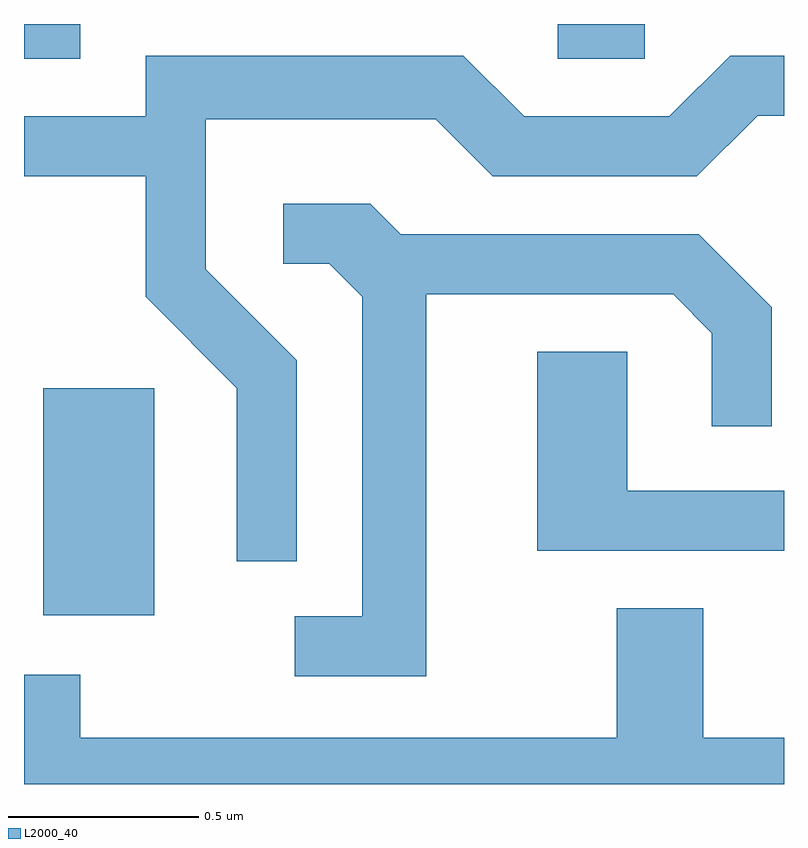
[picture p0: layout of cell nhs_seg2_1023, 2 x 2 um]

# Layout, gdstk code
import gdstk
lib = gdstk.Library(unit=1e-6, precision=1e-09)
def R(c, l, rs):  # rectangles x0, y0, x1, y1
    for r in rs: c.add(gdstk.rectangle(r[:2], r[2:], *l))
def P(c, l, *ps):  # polygons
    for p in ps: c.add(gdstk.Polygon(p, *l))
L2000_40 = (2000, 40)

nhs_seg2_1023 = lib.new_cell('nhs_seg2_1023')
R(nhs_seg2_1023, L2000_40, [(192.661,1042.246,192.954,1042.844), (192.611,1043.711,192.759,1043.802), (194.016,1043.711,194.244,1043.802)])
P(nhs_seg2_1023, L2000_40, [(193.329,1042.917),(193.089,1043.157),(193.089,1043.551),(193.694,1043.551),(193.844,1043.401),(194.382,1043.401),(194.542,1043.561),(194.611,1043.561),(194.611,1043.719),(194.469,1043.719),(194.309,1043.559),(193.927,1043.559),(193.767,1043.719),(192.931,1043.719),(192.931,1043.559),(192.611,1043.559),(192.611,1043.401),(192.931,1043.401),(192.931,1043.084),(193.171,1042.844),(193.171,1042.388),(193.329,1042.388)],
  [(193.669,1043.091),(194.319,1043.091),(194.421,1042.988),(194.421,1042.743),(194.579,1042.743),(194.579,1043.056),(194.387,1043.249),(193.602,1043.249),(193.522,1043.329),(193.293,1043.329),(193.293,1043.171),(193.414,1043.171),(193.501,1043.084),(193.501,1042.244),(193.323,1042.244),(193.323,1042.086),(193.669,1042.086)],
  [(194.611,1042.574),(194.199,1042.574),(194.199,1042.939),(193.961,1042.939),(193.961,1042.416),(194.611,1042.416)],
  [(194.611,1041.924),(194.399,1041.924),(194.399,1042.264),(194.171,1042.264),(194.171,1041.924),(192.759,1041.924),(192.759,1042.089),(192.611,1042.089),(192.611,1041.802),(194.611,1041.802)])

lib.write_gds('nhs_seg2_1023.gds')
